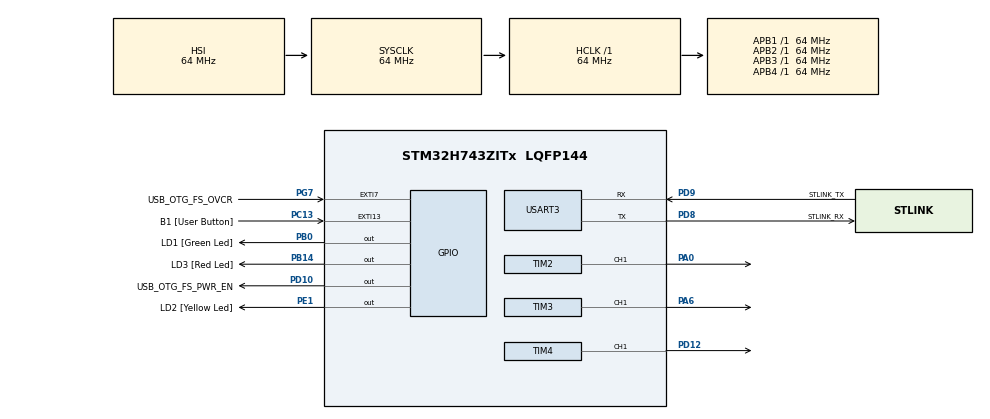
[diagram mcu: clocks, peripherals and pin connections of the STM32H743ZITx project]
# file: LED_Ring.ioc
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Dma.Request0=TIM2_CH1
Dma.Request1=TIM3_CH1
Dma.Request2=TIM4_CH1
Dma.TIM2_CH1.0.Direction=DMA_MEMORY_TO_PERIPH
Dma.TIM2_CH1.0.EventEnable=DISABLE
Dma.TIM2_CH1.0.FIFOMode=DMA_FIFOMODE_DISABLE
Dma.TIM2_CH1.0.Instance=DMA1_Stream0
Dma.TIM2_CH1.0.MemDataAlignment=DMA_MDATAALIGN_WORD
Dma.TIM2_CH1.0.MemInc=DMA_MINC_ENABLE
Dma.TIM2_CH1.0.Mode=DMA_NORMAL
Dma.TIM2_CH1.0.PeriphDataAlignment=DMA_PDATAALIGN_WORD
Dma.TIM2_CH1.0.PeriphInc=DMA_PINC_DISABLE
Dma.TIM2_CH1.0.Polarity=HAL_DMAMUX_REQ_GEN_RISING
Dma.TIM2_CH1.0.Priority=DMA_PRIORITY_VERY_HIGH
Dma.TIM2_CH1.0.RequestNumber=1
Dma.TIM2_CH1.0.SignalID=NONE
Dma.TIM2_CH1.0.SyncEnable=DISABLE
Dma.TIM2_CH1.0.SyncPolarity=HAL_DMAMUX_SYNC_NO_EVENT
Dma.TIM2_CH1.0.SyncRequestNumber=1
Dma.TIM2_CH1.0.SyncSignalID=NONE
Dma.TIM3_CH1.1.Direction=DMA_MEMORY_TO_PERIPH
Dma.TIM3_CH1.1.EventEnable=DISABLE
Dma.TIM3_CH1.1.FIFOMode=DMA_FIFOMODE_DISABLE
Dma.TIM3_CH1.1.Instance=DMA1_Stream1
Dma.TIM3_CH1.1.MemDataAlignment=DMA_MDATAALIGN_WORD
Dma.TIM3_CH1.1.MemInc=DMA_MINC_ENABLE
Dma.TIM3_CH1.1.Mode=DMA_NORMAL
Dma.TIM3_CH1.1.PeriphDataAlignment=DMA_PDATAALIGN_WORD
Dma.TIM3_CH1.1.PeriphInc=DMA_PINC_DISABLE
Dma.TIM3_CH1.1.Polarity=HAL_DMAMUX_REQ_GEN_RISING
Dma.TIM3_CH1.1.Priority=DMA_PRIORITY_VERY_HIGH
Dma.TIM3_CH1.1.RequestNumber=1
Dma.TIM3_CH1.1.SignalID=NONE
Dma.TIM3_CH1.1.SyncEnable=DISABLE
Dma.TIM3_CH1.1.SyncPolarity=HAL_DMAMUX_SYNC_NO_EVENT
Dma.TIM3_CH1.1.SyncRequestNumber=1
Dma.TIM3_CH1.1.SyncSignalID=NONE
Dma.TIM4_CH1.2.Direction=DMA_MEMORY_TO_PERIPH
Dma.TIM4_CH1.2.EventEnable=DISABLE
Dma.TIM4_CH1.2.FIFOMode=DMA_FIFOMODE_DISABLE
Dma.TIM4_CH1.2.Instance=DMA1_Stream2
Dma.TIM4_CH1.2.MemDataAlignment=DMA_MDATAALIGN_WORD
Dma.TIM4_CH1.2.MemInc=DMA_MINC_ENABLE
Dma.TIM4_CH1.2.Mode=DMA_NORMAL
Dma.TIM4_CH1.2.PeriphDataAlignment=DMA_PDATAALIGN_WORD
Dma.TIM4_CH1.2.PeriphInc=DMA_PINC_DISABLE
Dma.TIM4_CH1.2.Polarity=HAL_DMAMUX_REQ_GEN_RISING
Dma.TIM4_CH1.2.Priority=DMA_PRIORITY_VERY_HIGH
Dma.TIM4_CH1.2.RequestNumber=1
Dma.TIM4_CH1.2.SignalID=NONE
Dma.TIM4_CH1.2.SyncEnable=DISABLE
Dma.TIM4_CH1.2.SyncPolarity=HAL_DMAMUX_SYNC_NO_EVENT
Dma.TIM4_CH1.2.SyncRequestNumber=1
Dma.TIM4_CH1.2.SyncSignalID=NONE
Mcu.Family=STM32H7
Mcu.Name=STM32H743ZITx
Mcu.Package=LQFP144
NVIC.DMA1_Stream0_IRQn=true\:0\:0\:false\:false\:true\:false\:true\:true
NVIC.DMA1_Stream1_IRQn=true\:0\:0\:false\:false\:true\:false\:true\:true
NVIC.DMA1_Stream2_IRQn=true\:0\:0\:false\:false\:true\:false\:true\:true
NVIC.EXTI15_10_IRQn=true\:0\:0\:false\:false\:true\:true\:true\:true
NVIC.PriorityGroup=NVIC_PRIORITYGROUP_4
PA0.Signal=S_TIM2_CH1_ETR
PA1.Signal=ETH_REF_CLK
PA11.Signal=USB_OTG_FS_DM
PA12.Signal=USB_OTG_FS_DP
PA2.Signal=ETH_MDIO
PA6.Signal=S_TIM3_CH1
PA7.Signal=ETH_CRS_DV
PA8.Signal=USB_OTG_FS_SOF
PA9.Signal=USB_OTG_FS_VBUS
PB0.GPIO_Label=LD1 [Green Led]
PB0.Signal=GPIO_Output
PB13.Signal=ETH_TXD1
PB14.GPIO_Label=LD3 [Red Led]
PB14.Signal=GPIO_Output
PC1.Signal=ETH_MDC
PC13.GPIO_Label=B1 [User Button]
PC13.Signal=GPXTI13
PC14-OSC32_IN\ (OSC32_IN).Mode=LSE-External-Oscillator
PC14-OSC32_IN\ (OSC32_IN).Signal=RCC_OSC32_IN
PC15-OSC32_OUT\ (OSC32_OUT).Mode=LSE-External-Oscillator
PC15-OSC32_OUT\ (OSC32_OUT).Signal=RCC_OSC32_OUT
PC4.Signal=ETH_RXD0
PC5.Signal=ETH_RXD1
PD10.GPIO_Label=USB_OTG_FS_PWR_EN
PD10.Signal=GPIO_Output
PD12.Signal=S_TIM4_CH1
PD8.GPIO_Label=STLINK_RX
PD8.Mode=Asynchronous
PD8.Signal=USART3_TX
PD9.GPIO_Label=STLINK_TX
PD9.Mode=Asynchronous
PD9.Signal=USART3_RX
PE1.GPIO_Label=LD2 [Yellow Led]
PE1.Signal=GPIO_Output
PG11.Signal=ETH_TX_EN
PG13.Signal=ETH_TXD0
PG7.GPIO_Label=USB_OTG_FS_OVCR
PG7.Signal=GPXTI7
PH0-OSC_IN\ (PH0).Mode=HSE-External-Clock-Source
PH0-OSC_IN\ (PH0).Signal=RCC_OSC_IN
PH1-OSC_OUT\ (PH1).Signal=RCC_OSC_OUT
ProjectManager.HeapSize=0x200
ProjectManager.StackSize=0x400
ProjectManager.TargetToolchain=STM32CubeIDE
RCC.ADCFreq_Value=16125000
RCC.APB1Freq_Value=64000000
RCC.APB2Freq_Value=64000000
RCC.APB3Freq_Value=64000000
RCC.APB4Freq_Value=64000000
RCC.CortexFreq_Value=64000000
RCC.DIVM1=1
RCC.DIVN1=24
RCC.DIVQ1=4
RCC.HCLKFreq_Value=64000000
RCC.HSE_VALUE=8000000
RCC.PLLFRACN=0
RCC.PLLSourceVirtual=RCC_PLLSOURCE_HSE
RCC.PWR_Regulator_Voltage_Scale=PWR_REGULATOR_VOLTAGE_SCALE2
RCC.SYSCLKFreq_VALUE=64000000
RCC.USBFreq_Value=48000000
SH.S_TIM2_CH1_ETR.0=TIM2_CH1,PWM Generation1 CH1
SH.S_TIM3_CH1.0=TIM3_CH1,PWM Generation1 CH1
SH.S_TIM4_CH1.0=TIM4_CH1,PWM Generation1 CH1
TIM2.Channel-PWM\ Generation1\ CH1=TIM_CHANNEL_1
TIM2.Period=80-1
TIM3.Channel-PWM\ Generation1\ CH1=TIM_CHANNEL_1
TIM3.Period=80-1
TIM4.Channel-PWM\ Generation1\ CH1=TIM_CHANNEL_1
TIM4.Period=80-1
USART3.VirtualMode-Asynchronous=VM_ASYNC
VP_TIM2_VS_ClockSourceINT.Mode=Internal
VP_TIM3_VS_ClockSourceINT.Mode=Internal
VP_TIM4_VS_ClockSourceINT.Mode=Internal
board=NUCLEO-H743ZI2

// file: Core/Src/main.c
/* USER CODE BEGIN Header */
/**
  ******************************************************************************
  * @file           : main.c
  * @brief          : Main program body
  ******************************************************************************
  * @attention
  *
  * Copyright (c) 2023 STMicroelectronics.
  * All rights reserved.
  *
  * This software is licensed under terms that can be found in the LICENSE file
  * in the root directory of this software component.
  * If no LICENSE file comes with this software, it is provided AS-IS.
  *
  ******************************************************************************
  */
/* USER CODE END Header */
#include "main.h"

/* USER CODE BEGIN Includes */
#include <stdint.h>
#include <limits.h>
#include <stdbool.h>
#include "neopixel.h"

/* USER CODE END Includes */

/* USER CODE BEGIN PTD */

enum LEDStringState_E
{
  IDLE_ANIMATION,
  PROPOSAL_ANIMATION,
  VICTORY_ANIMATION,
  NUM_OF_LED_STATEMAP_STATES
};

struct GPIO_Port_Pin_S
{
  GPIO_TypeDef * port;
  uint16_t pin;
};

/* USER CODE END PTD */

/* USER CODE BEGIN PD */

#define DEBOUNCE_WAIT_TIME  5 // ms

/* USER CODE END PD */

TIM_HandleTypeDef htim2;
TIM_HandleTypeDef htim3;
TIM_HandleTypeDef htim4;
DMA_HandleTypeDef hdma_tim2_ch1;
DMA_HandleTypeDef hdma_tim3_ch1;
DMA_HandleTypeDef hdma_tim4_ch1;

UART_HandleTypeDef huart3;

/* USER CODE BEGIN PV */

static volatile bool DMA_Transfer_Complete; // Flag to indicate a DMA transfer was completed. TODO: Remove this once you figure how to get around the wait after DMA transfer request...
static volatile bool ButtonPressed;

/* External variables --------------------------------------------------------*/

extern const struct LED_Strip_Frame_S LED_ANIMATION_TABLE[NUM_OF_FRAMES];

/* USER CODE END PV */

void SystemClock_Config(void);
static void MX_GPIO_Init(void);
static void MX_DMA_Init(void);
static void MX_USART3_UART_Init(void);
static void MX_TIM2_Init(void);
static void MX_TIM3_Init(void);
static void MX_TIM4_Init(void);

/* USER CODE BEGIN 0 */

/*!*****************************************************************
* @fn HAL_TIM_PWM_PulseFinishedCallback
* @brief Callback function that is called once the DMA has completed its transfer.
* @param[in] PixelData array that contains the data for each pixel
* @return void
*******************************************************************/
void HAL_TIM_PWM_PulseFinishedCallback(TIM_HandleTypeDef *htim)
{
  HAL_TIM_PWM_Stop_DMA( htim, TIM_CHANNEL_1 );
  DMA_Transfer_Complete = true;
}

/**
  * @brief  EXTI line detection callback.
  * @param  GPIO_Pin: Specifies the port pin connected to corresponding EXTI line.
  * @retval None
  */
void HAL_GPIO_EXTI_Callback(uint16_t GPIO_Pin)
{
  if ( GPIO_Pin == B1_Pin )
  {
    ButtonPressed = true;
  }
}

/* USER CODE END 0 */

int main(void)
{
  /* USER CODE BEGIN 1 */

  static enum LEDStringState_E LEDStateMapState = IDLE_ANIMATION;
  static bool AnimationComplete = false;
  static uint8_t LED_Idx = 0;
  static bool StateUpdated = false;
  uint32_t dma_buffer_ring_strip[NUM_OF_PIXELS_IN_RING_STRIP * NUM_OF_BITS_PER_PIXEL + 1];
  uint32_t dma_buffer_pulse_strip[NUM_OF_PIXELS_IN_PULSE_STRIP * NUM_OF_BITS_PER_PIXEL + 1];

  // Declarations and definitions for LED selection
  static const struct GPIO_Port_Pin_S LED_OPTIONS_TABLE[] =
  {
    { LD1_GPIO_Port,  LD1_Pin },
    { LD2_GPIO_Port,  LD2_Pin },
    { LD3_GPIO_Port,  LD3_Pin },
  };

  /* USER CODE END 1 */

  /* MCU Configuration--------------------------------------------------------*/

  /* Reset of all peripherals, Initializes the Flash interface and the Systick. */
  HAL_Init();

  /* Configure the system clock */
  SystemClock_Config();

  /* Initialize all configured peripherals */
  MX_GPIO_Init();
  MX_DMA_Init();
  MX_USART3_UART_Init();
  MX_TIM2_Init();
  MX_TIM3_Init();
  MX_TIM4_Init();

  /* Infinite loop */
  /* USER CODE BEGIN WHILE */
  HAL_GPIO_WritePin( LED_OPTIONS_TABLE[LED_Idx].port, LED_OPTIONS_TABLE[LED_Idx].pin, GPIO_PIN_SET );

  while (1)
  {

    /* USER CODE END WHILE */

    /* USER CODE BEGIN 3 */

    switch( LEDStateMapState )
    {
      case IDLE_ANIMATION:
        StateUpdated = false;

        NeoPixel_RingStrip_AllOff_FillBuffer(dma_buffer_ring_strip, sizeof(dma_buffer_ring_strip)/sizeof(uint32_t));
        NeoPixel_PulseStrips_AllOff_FillBuffer(dma_buffer_pulse_strip, sizeof(dma_buffer_pulse_strip)/sizeof(uint32_t));

        // Send away to timer 4
        if ( HAL_TIM_PWM_Start_DMA( &htim4, TIM_CHANNEL_1, dma_buffer_ring_strip, sizeof(dma_buffer_ring_strip)/sizeof(uint32_t) ) != HAL_OK )
        {
          // TODO: Write a handler to indicate the DMA start request failed...
        }
        while( DMA_Transfer_Complete == false );
        DMA_Transfer_Complete = false;

        // Send away to the timer 2
        if ( HAL_TIM_PWM_Start_DMA( &htim2, TIM_CHANNEL_1, dma_buffer_pulse_strip, sizeof(dma_buffer_pulse_strip)/sizeof(uint32_t) ) != HAL_OK )
        {
          // TODO: Write a handler to indicate the DMA start request failed...
        }
        // For some reason, despite this defeating the whole purpose of the DMA, I have to wait otherwise the data gets corrupted...
        // TODO: Figure out how to not have to do this!
        while( DMA_Transfer_Complete == false );
        DMA_Transfer_Complete = false;

        // Send away to the timer 3
        if ( HAL_TIM_PWM_Start_DMA( &htim3, TIM_CHANNEL_1, dma_buffer_pulse_strip, sizeof(dma_buffer_pulse_strip)/sizeof(uint32_t) ) != HAL_OK )
        {
          // TODO: Write a handler to indicate the DMA start request failed...
        }
        while( DMA_Transfer_Complete == false );
        DMA_Transfer_Complete = false;

        // Process button press, if applicable
        if ( ButtonPressed == true )
        {
          StateUpdated = true;
          AnimationComplete = false;
          LEDStateMapState = PROPOSAL_ANIMATION; // Next loop will transition to next state
          ButtonPressed = false;
          HAL_Delay( DEBOUNCE_WAIT_TIME );  // TODO: Handle debounces without a delay...

          // For debug purposes, drive one of the board LEDs to indicate state
          HAL_GPIO_WritePin( LED_OPTIONS_TABLE[LED_Idx].port, LED_OPTIONS_TABLE[LED_Idx].pin, GPIO_PIN_RESET );
          LED_Idx++;
          // Wrap-around if past table bounds
          if ( LED_Idx >= (sizeof(LED_OPTIONS_TABLE) / sizeof(struct GPIO_Port_Pin_S)) )
          {
            LED_Idx = 0;
          }
          HAL_GPIO_WritePin( LED_OPTIONS_TABLE[LED_Idx].port, LED_OPTIONS_TABLE[LED_Idx].pin, GPIO_PIN_SET );

        }

        break;

      case PROPOSAL_ANIMATION:

        // Process button press, if applicable
        if ( ButtonPressed == true )
        {
          if ( AnimationComplete == false )
          {
            // Hold off on transitioning
          }
          else
          {
            LEDStateMapState = VICTORY_ANIMATION; // Next loop will transition to next state
            ButtonPressed = false;
            HAL_Delay( DEBOUNCE_WAIT_TIME );  // TODO: Handle debounces without a delay...

            // For debug purposes, drive one of the board LEDs to indicate state
            HAL_GPIO_WritePin( LED_OPTIONS_TABLE[LED_Idx].port, LED_OPTIONS_TABLE[LED_Idx].pin, GPIO_PIN_RESET );
            LED_Idx++;
            // Wrap-around if past table bounds
            if ( LED_Idx >= (sizeof(LED_OPTIONS_TABLE) / sizeof(struct GPIO_Port_Pin_S)) )
            {
              LED_Idx = 0;
            }
            HAL_GPIO_WritePin( LED_OPTIONS_TABLE[LED_Idx].port, LED_OPTIONS_TABLE[LED_Idx].pin, GPIO_PIN_SET );
          }

        }

        // Animate!
        if ( AnimationComplete == false )
        {

          for ( uint8_t pulse_idx = 1; pulse_idx < (NUM_OF_BRIGHTNESS_LEVELS - 1); pulse_idx++ )
          {
            // Perform pulse animation

            if ( pulse_idx == 1 )
            {
              HAL_Delay(2000);  // Wait two seconds after button press essentially...
            }

            // Pulse one strip
            for ( uint8_t frame_idx = 0; frame_idx < NUM_OF_FRAMES; frame_idx++ )
            {
              NeoPixel_PulseStrips_FillBuffer( frame_idx, dma_buffer_pulse_strip, sizeof(dma_buffer_pulse_strip)/sizeof(uint32_t) );
              // Send away to the timer 2
              if ( HAL_TIM_PWM_Start_DMA( &htim2, TIM_CHANNEL_1, dma_buffer_pulse_strip, sizeof(dma_buffer_pulse_strip)/sizeof(uint32_t) ) != HAL_OK )
              {
                // TODO: Write a handler to indicate the DMA start request failed...
              }
              // For some reason, despite this defeating the whole purpose of the DMA, I have to wait otherwise the data gets corrupted...
              // TODO: Figure out how to not have to do this!
              while( DMA_Transfer_Complete == false );
              DMA_Transfer_Complete = false;

              HAL_Delay(15);  // REDO COMMENT: 1s / 30 frames ~ 33.333ms, and it takes about 30us x 60 LEDs x 2 strips = 3.6ms to update the strips, so 33.333ms - 3.600ms = 29.733ms ~ 30ms
            }

            // Go to next brightness level with the ring strip
            NeoPixel_RingStrip_FillBuffer( (enum RingBrightness_E) pulse_idx, dma_buffer_ring_strip, sizeof(dma_buffer_ring_strip)/sizeof(uint32_t) );
            if ( HAL_TIM_PWM_Start_DMA( &htim4, TIM_CHANNEL_1, dma_buffer_ring_strip, sizeof(dma_buffer_ring_strip)/sizeof(uint32_t) ) != HAL_OK )
            {
              // TODO: Write a handler to indicate the DMA start request failed...
            }
            while( DMA_Transfer_Complete == false );
            DMA_Transfer_Complete = false;
            pulse_idx++;

            // Pulse the other strip
            for ( uint8_t frame_idx = 0; frame_idx < NUM_OF_FRAMES; frame_idx++ )
            {
              NeoPixel_PulseStrips_FillBuffer( frame_idx, dma_buffer_pulse_strip, sizeof(dma_buffer_pulse_strip)/sizeof(uint32_t) );

              // Send away to the timer 3
              if ( HAL_TIM_PWM_Start_DMA( &htim3, TIM_CHANNEL_1, dma_buffer_pulse_strip, sizeof(dma_buffer_pulse_strip)/sizeof(uint32_t) ) != HAL_OK )
              {
                // TODO: Write a handler to indicate the DMA start request failed...
              }
              while( DMA_Transfer_Complete == false );
              DMA_Transfer_Complete = false;

              HAL_Delay(15);  // REDO COMMENT: 1s / 30 frames ~ 33.333ms, and it takes about 30us x 60 LEDs x 2 strips = 3.6ms to update the strips, so 33.333ms - 3.600ms = 29.733ms ~ 30ms
            }

            // Go to next brightness level with the ring strip
            NeoPixel_RingStrip_FillBuffer( (enum RingBrightness_E) pulse_idx, dma_buffer_ring_strip, sizeof(dma_buffer_ring_strip)/sizeof(uint32_t) );
            if ( HAL_TIM_PWM_Start_DMA( &htim4, TIM_CHANNEL_1, dma_buffer_ring_strip, sizeof(dma_buffer_ring_strip)/sizeof(uint32_t) ) != HAL_OK )
            {
              // TODO: Write a handler to indicate the DMA start request failed...
            }
            while( DMA_Transfer_Complete == false );
            DMA_Transfer_Complete = false;

          }

          AnimationComplete = true;
        }

        else
        {
          // Do nothing. Hold at last animation frame!
          // TODO: Pulse the ring?
        }

        break;

      case VICTORY_ANIMATION:

        // Process button press, if applicable
        if ( ButtonPressed == true )
        {

          AnimationComplete = false;
          LEDStateMapState = IDLE_ANIMATION; // Next loop will transition to next state
          ButtonPressed = false;
          HAL_Delay( DEBOUNCE_WAIT_TIME );  // TODO: Handle debounces without a delay...

          // For debug purposes, drive one of the board LEDs to indicate state
          HAL_GPIO_WritePin( LED_OPTIONS_TABLE[LED_Idx].port, LED_OPTIONS_TABLE[LED_Idx].pin, GPIO_PIN_RESET );
          LED_Idx++;
          // Wrap-around if past table bounds
          if ( LED_Idx >= (sizeof(LED_OPTIONS_TABLE) / sizeof(struct GPIO_Port_Pin_S)) )
          {
            LED_Idx = 0;
          }
          HAL_GPIO_WritePin( LED_OPTIONS_TABLE[LED_Idx].port, LED_OPTIONS_TABLE[LED_Idx].pin, GPIO_PIN_SET );

        }

        break;

    }

  }
  /* USER CODE END 3 */
}

void SystemClock_Config(void)
{
  RCC_OscInitTypeDef RCC_OscInitStruct = {0};
  RCC_ClkInitTypeDef RCC_ClkInitStruct = {0};

  /** Supply configuration update enable
  */
  HAL_PWREx_ConfigSupply(PWR_LDO_SUPPLY);

  /** Configure the main internal regulator output voltage
  */
  __HAL_PWR_VOLTAGESCALING_CONFIG(PWR_REGULATOR_VOLTAGE_SCALE2);

  while(!__HAL_PWR_GET_FLAG(PWR_FLAG_VOSRDY)) {}

  /** Initializes the RCC Oscillators according to the specified parameters
  * in the RCC_OscInitTypeDef structure.
  */
  RCC_OscInitStruct.OscillatorType = RCC_OSCILLATORTYPE_HSI;
  RCC_OscInitStruct.HSIState = RCC_HSI_DIV1;
  RCC_OscInitStruct.HSICalibrationValue = RCC_HSICALIBRATION_DEFAULT;
  RCC_OscInitStruct.PLL.PLLState = RCC_PLL_NONE;
  if (HAL_RCC_OscConfig(&RCC_OscInitStruct) != HAL_OK)
  {
    Error_Handler();
  }

  /** Initializes the CPU, AHB and APB buses clocks
  */
  RCC_ClkInitStruct.ClockType = RCC_CLOCKTYPE_HCLK|RCC_CLOCKTYPE_SYSCLK
                              |RCC_CLOCKTYPE_PCLK1|RCC_CLOCKTYPE_PCLK2
                              |RCC_CLOCKTYPE_D3PCLK1|RCC_CLOCKTYPE_D1PCLK1;
  RCC_ClkInitStruct.SYSCLKSource = RCC_SYSCLKSOURCE_HSI;
  RCC_ClkInitStruct.SYSCLKDivider = RCC_SYSCLK_DIV1;
  RCC_ClkInitStruct.AHBCLKDivider = RCC_HCLK_DIV1;
  RCC_ClkInitStruct.APB3CLKDivider = RCC_APB3_DIV1;
  RCC_ClkInitStruct.APB1CLKDivider = RCC_APB1_DIV1;
  RCC_ClkInitStruct.APB2CLKDivider = RCC_APB2_DIV1;
  RCC_ClkInitStruct.APB4CLKDivider = RCC_APB4_DIV1;

  if (HAL_RCC_ClockConfig(&RCC_ClkInitStruct, FLASH_LATENCY_1) != HAL_OK)
  {
    Error_Handler();
  }
}

static void MX_TIM2_Init(void)
{

  TIM_ClockConfigTypeDef sClockSourceConfig = {0};
  TIM_MasterConfigTypeDef sMasterConfig = {0};
  TIM_OC_InitTypeDef sConfigOC = {0};

  htim2.Instance = TIM2;
  htim2.Init.Prescaler = 0;
  htim2.Init.CounterMode = TIM_COUNTERMODE_UP;
  htim2.Init.Period = 80-1;
  htim2.Init.ClockDivision = TIM_CLOCKDIVISION_DIV1;
  htim2.Init.AutoReloadPreload = TIM_AUTORELOAD_PRELOAD_DISABLE;
  if (HAL_TIM_Base_Init(&htim2) != HAL_OK)
  {
    Error_Handler();
  }
  sClockSourceConfig.ClockSource = TIM_CLOCKSOURCE_INTERNAL;
  if (HAL_TIM_ConfigClockSource(&htim2, &sClockSourceConfig) != HAL_OK)
  {
    Error_Handler();
  }
  if (HAL_TIM_PWM_Init(&htim2) != HAL_OK)
  {
    Error_Handler();
  }
  sMasterConfig.MasterOutputTrigger = TIM_TRGO_RESET;
  sMasterConfig.MasterSlaveMode = TIM_MASTERSLAVEMODE_DISABLE;
  if (HAL_TIMEx_MasterConfigSynchronization(&htim2, &sMasterConfig) != HAL_OK)
  {
    Error_Handler();
  }
  sConfigOC.OCMode = TIM_OCMODE_PWM1;
  sConfigOC.Pulse = 0;
  sConfigOC.OCPolarity = TIM_OCPOLARITY_HIGH;
  sConfigOC.OCFastMode = TIM_OCFAST_DISABLE;
  if (HAL_TIM_PWM_ConfigChannel(&htim2, &sConfigOC, TIM_CHANNEL_1) != HAL_OK)
  {
    Error_Handler();
  }
  HAL_TIM_MspPostInit(&htim2);

}

static void MX_TIM3_Init(void)
{

  TIM_ClockConfigTypeDef sClockSourceConfig = {0};
  TIM_MasterConfigTypeDef sMasterConfig = {0};
  TIM_OC_InitTypeDef sConfigOC = {0};

  htim3.Instance = TIM3;
  htim3.Init.Prescaler = 0;
  htim3.Init.CounterMode = TIM_COUNTERMODE_UP;
  htim3.Init.Period = 80-1;
  htim3.Init.ClockDivision = TIM_CLOCKDIVISION_DIV1;
  htim3.Init.AutoReloadPreload = TIM_AUTORELOAD_PRELOAD_DISABLE;
  if (HAL_TIM_Base_Init(&htim3) != HAL_OK)
  {
    Error_Handler();
  }
  sClockSourceConfig.ClockSource = TIM_CLOCKSOURCE_INTERNAL;
  if (HAL_TIM_ConfigClockSource(&htim3, &sClockSourceConfig) != HAL_OK)
  {
    Error_Handler();
  }
  if (HAL_TIM_PWM_Init(&htim3) != HAL_OK)
  {
    Error_Handler();
  }
  sMasterConfig.MasterOutputTrigger = TIM_TRGO_RESET;
  sMasterConfig.MasterSlaveMode = TIM_MASTERSLAVEMODE_DISABLE;
  if (HAL_TIMEx_MasterConfigSynchronization(&htim3, &sMasterConfig) != HAL_OK)
  {
    Error_Handler();
  }
  sConfigOC.OCMode = TIM_OCMODE_PWM1;
  sConfigOC.Pulse = 0;
  sConfigOC.OCPolarity = TIM_OCPOLARITY_HIGH;
  sConfigOC.OCFastMode = TIM_OCFAST_DISABLE;
  if (HAL_TIM_PWM_ConfigChannel(&htim3, &sConfigOC, TIM_CHANNEL_1) != HAL_OK)
  {
    Error_Handler();
  }
  HAL_TIM_MspPostInit(&htim3);

}

static void MX_TIM4_Init(void)
{

  TIM_ClockConfigTypeDef sClockSourceConfig = {0};
  TIM_MasterConfigTypeDef sMasterConfig = {0};
  TIM_OC_InitTypeDef sConfigOC = {0};

  htim4.Instance = TIM4;
  htim4.Init.Prescaler = 0;
  htim4.Init.CounterMode = TIM_COUNTERMODE_UP;
  htim4.Init.Period = 80-1;
  htim4.Init.ClockDivision = TIM_CLOCKDIVISION_DIV1;
  htim4.Init.AutoReloadPreload = TIM_AUTORELOAD_PRELOAD_DISABLE;
  if (HAL_TIM_Base_Init(&htim4) != HAL_OK)
  {
    Error_Handler();
  }
  sClockSourceConfig.ClockSource = TIM_CLOCKSOURCE_INTERNAL;
  if (HAL_TIM_ConfigClockSource(&htim4, &sClockSourceConfig) != HAL_OK)
  {
    Error_Handler();
  }
  if (HAL_TIM_PWM_Init(&htim4) != HAL_OK)
  {
    Error_Handler();
  }
  sMasterConfig.MasterOutputTrigger = TIM_TRGO_RESET;
  sMasterConfig.MasterSlaveMode = TIM_MASTERSLAVEMODE_DISABLE;
  if (HAL_TIMEx_MasterConfigSynchronization(&htim4, &sMasterConfig) != HAL_OK)
  {
    Error_Handler();
  }
  sConfigOC.OCMode = TIM_OCMODE_PWM1;
  sConfigOC.Pulse = 0;
  sConfigOC.OCPolarity = TIM_OCPOLARITY_HIGH;
  sConfigOC.OCFastMode = TIM_OCFAST_DISABLE;
  if (HAL_TIM_PWM_ConfigChannel(&htim4, &sConfigOC, TIM_CHANNEL_1) != HAL_OK)
  {
    Error_Handler();
  }
  HAL_TIM_MspPostInit(&htim4);

}

static void MX_USART3_UART_Init(void)
{

  huart3.Instance = USART3;
  huart3.Init.BaudRate = 115200;
  huart3.Init.WordLength = UART_WORDLENGTH_8B;
  huart3.Init.StopBits = UART_STOPBITS_1;
  huart3.Init.Parity = UART_PARITY_NONE;
  huart3.Init.Mode = UART_MODE_TX_RX;
  huart3.Init.HwFlowCtl = UART_HWCONTROL_NONE;
  huart3.Init.OverSampling = UART_OVERSAMPLING_16;
  huart3.Init.OneBitSampling = UART_ONE_BIT_SAMPLE_DISABLE;
  huart3.Init.ClockPrescaler = UART_PRESCALER_DIV1;
  huart3.AdvancedInit.AdvFeatureInit = UART_ADVFEATURE_NO_INIT;
  if (HAL_UART_Init(&huart3) != HAL_OK)
  {
    Error_Handler();
  }
  if (HAL_UARTEx_SetTxFifoThreshold(&huart3, UART_TXFIFO_THRESHOLD_1_8) != HAL_OK)
  {
    Error_Handler();
  }
  if (HAL_UARTEx_SetRxFifoThreshold(&huart3, UART_RXFIFO_THRESHOLD_1_8) != HAL_OK)
  {
    Error_Handler();
  }
  if (HAL_UARTEx_DisableFifoMode(&huart3) != HAL_OK)
  {
    Error_Handler();
  }

}

static void MX_DMA_Init(void)
{

  /* DMA controller clock enable */
  __HAL_RCC_DMA1_CLK_ENABLE();

  /* DMA interrupt init */
  /* DMA1_Stream0_IRQn interrupt configuration */
  HAL_NVIC_SetPriority(DMA1_Stream0_IRQn, 0, 0);
  HAL_NVIC_EnableIRQ(DMA1_Stream0_IRQn);
  /* DMA1_Stream1_IRQn interrupt configuration */
  HAL_NVIC_SetPriority(DMA1_Stream1_IRQn, 0, 0);
  HAL_NVIC_EnableIRQ(DMA1_Stream1_IRQn);
  /* DMA1_Stream2_IRQn interrupt configuration */
  HAL_NVIC_SetPriority(DMA1_Stream2_IRQn, 0, 0);
  HAL_NVIC_EnableIRQ(DMA1_Stream2_IRQn);

}

static void MX_GPIO_Init(void)
{
  GPIO_InitTypeDef GPIO_InitStruct = {0};

  /* GPIO Ports Clock Enable */
  __HAL_RCC_GPIOC_CLK_ENABLE();
  __HAL_RCC_GPIOH_CLK_ENABLE();
  __HAL_RCC_GPIOA_CLK_ENABLE();
  __HAL_RCC_GPIOB_CLK_ENABLE();
  __HAL_RCC_GPIOD_CLK_ENABLE();
  __HAL_RCC_GPIOG_CLK_ENABLE();
  __HAL_RCC_GPIOE_CLK_ENABLE();

  /*Configure GPIO pin Output Level */
  HAL_GPIO_WritePin(GPIOB, LD1_Pin|LD3_Pin, GPIO_PIN_RESET);

  /*Configure GPIO pin Output Level */
  HAL_GPIO_WritePin(USB_OTG_FS_PWR_EN_GPIO_Port, USB_OTG_FS_PWR_EN_Pin, GPIO_PIN_RESET);

  /*Configure GPIO pin Output Level */
  HAL_GPIO_WritePin(LD2_GPIO_Port, LD2_Pin, GPIO_PIN_RESET);

  /*Configure GPIO pin : B1_Pin */
  GPIO_InitStruct.Pin = B1_Pin;
  GPIO_InitStruct.Mode = GPIO_MODE_IT_RISING;
  GPIO_InitStruct.Pull = GPIO_NOPULL;
  HAL_GPIO_Init(B1_GPIO_Port, &GPIO_InitStruct);

  /*Configure GPIO pins : PC1 PC4 PC5 */
  GPIO_InitStruct.Pin = GPIO_PIN_1|GPIO_PIN_4|GPIO_PIN_5;
  GPIO_InitStruct.Mode = GPIO_MODE_AF_PP;
  GPIO_InitStruct.Pull = GPIO_NOPULL;
  GPIO_InitStruct.Speed = GPIO_SPEED_FREQ_LOW;
  GPIO_InitStruct.Alternate = GPIO_AF11_ETH;
  HAL_GPIO_Init(GPIOC, &GPIO_InitStruct);

  /*Configure GPIO pins : PA1 PA2 PA7 */
  GPIO_InitStruct.Pin = GPIO_PIN_1|GPIO_PIN_2|GPIO_PIN_7;
  GPIO_InitStruct.Mode = GPIO_MODE_AF_PP;
  GPIO_InitStruct.Pull = GPIO_NOPULL;
  GPIO_InitStruct.Speed = GPIO_SPEED_FREQ_LOW;
  GPIO_InitStruct.Alternate = GPIO_AF11_ETH;
  HAL_GPIO_Init(GPIOA, &GPIO_InitStruct);

  /*Configure GPIO pins : LD1_Pin LD3_Pin */
  GPIO_InitStruct.Pin = LD1_Pin|LD3_Pin;
  GPIO_InitStruct.Mode = GPIO_MODE_OUTPUT_PP;
  GPIO_InitStruct.Pull = GPIO_NOPULL;
  GPIO_InitStruct.Speed = GPIO_SPEED_FREQ_LOW;
  HAL_GPIO_Init(GPIOB, &GPIO_InitStruct);

  /*Configure GPIO pin : PB13 */
  GPIO_InitStruct.Pin = GPIO_PIN_13;
  GPIO_InitStruct.Mode = GPIO_MODE_AF_PP;
  GPIO_InitStruct.Pull = GPIO_NOPULL;
  GPIO_InitStruct.Speed = GPIO_SPEED_FREQ_LOW;
  GPIO_InitStruct.Alternate = GPIO_AF11_ETH;
  HAL_GPIO_Init(GPIOB, &GPIO_InitStruct);

  /*Configure GPIO pin : USB_OTG_FS_PWR_EN_Pin */
  GPIO_InitStruct.Pin = USB_OTG_FS_PWR_EN_Pin;
  GPIO_InitStruct.Mode = GPIO_MODE_OUTPUT_PP;
  GPIO_InitStruct.Pull = GPIO_NOPULL;
  GPIO_InitStruct.Speed = GPIO_SPEED_FREQ_LOW;
  HAL_GPIO_Init(USB_OTG_FS_PWR_EN_GPIO_Port, &GPIO_InitStruct);

  /*Configure GPIO pin : USB_OTG_FS_OVCR_Pin */
  GPIO_InitStruct.Pin = USB_OTG_FS_OVCR_Pin;
  GPIO_InitStruct.Mode = GPIO_MODE_IT_RISING;
  GPIO_InitStruct.Pull = GPIO_NOPULL;
  HAL_GPIO_Init(USB_OTG_FS_OVCR_GPIO_Port, &GPIO_InitStruct);

  /*Configure GPIO pins : PA8 PA11 PA12 */
  GPIO_InitStruct.Pin = GPIO_PIN_8|GPIO_PIN_11|GPIO_PIN_12;
  GPIO_InitStruct.Mode = GPIO_MODE_AF_PP;
  GPIO_InitStruct.Pull = GPIO_NOPULL;
  GPIO_InitStruct.Speed = GPIO_SPEED_FREQ_LOW;
  GPIO_InitStruct.Alternate = GPIO_AF10_OTG1_FS;
  HAL_GPIO_Init(GPIOA, &GPIO_InitStruct);

  /*Configure GPIO pins : PG11 PG13 */
  GPIO_InitStruct.Pin = GPIO_PIN_11|GPIO_PIN_13;
  GPIO_InitStruct.Mode = GPIO_MODE_AF_PP;
  GPIO_InitStruct.Pull = GPIO_NOPULL;
  GPIO_InitStruct.Speed = GPIO_SPEED_FREQ_LOW;
  GPIO_InitStruct.Alternate = GPIO_AF11_ETH;
  HAL_GPIO_Init(GPIOG, &GPIO_InitStruct);

  /*Configure GPIO pin : LD2_Pin */
  GPIO_InitStruct.Pin = LD2_Pin;
  GPIO_InitStruct.Mode = GPIO_MODE_OUTPUT_PP;
  GPIO_InitStruct.Pull = GPIO_NOPULL;
  GPIO_InitStruct.Speed = GPIO_SPEED_FREQ_LOW;
  HAL_GPIO_Init(LD2_GPIO_Port, &GPIO_InitStruct);

  /* EXTI interrupt init*/
  HAL_NVIC_SetPriority(EXTI15_10_IRQn, 0, 0);
  HAL_NVIC_EnableIRQ(EXTI15_10_IRQn);

}

void Error_Handler(void)
{
  __disable_irq();
  while (1)
  {
  }
}
